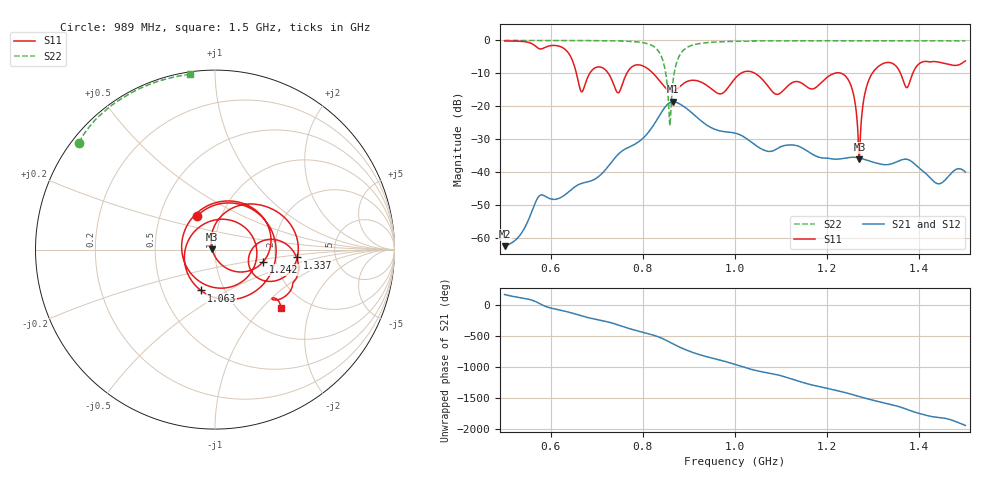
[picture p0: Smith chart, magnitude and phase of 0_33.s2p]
! TOUCHSTONE file generated by CST MICROWAVE STUDIO
! Date and time: Sat Oct 24 10:47:19 2020
! Project name: Scenario_1_Planar_Body_Tissue_Center.cst
! Parameters = {hfat=3; hmuscle=50; hskin=1.5; hgap=25; Wtissue=700; Ltissue=700; L_HA=400; MT=2.54; Rad_Dielectric=30; Rad_Lower=7.3; Rad_Upper=30; a_HA=580; a_WG=246; b_HA=500; b_WG=121; c_HA=0; c_WG=187; d_feed=85; dx1=727.24; h_feed=15; h_lower=18; h_upper=40}
! Header version: 2018
! Port assignment regex: !\s*Touchstone port\s*([0-9]+)\s*=\s*(CST MWS port|CST DS port)\s*([0-9]+|Zmin|Zmax)\s*\(\"(.*)\"\)(\s*mode\s*([0-9]+))?.*
! Touchstone port assignment:
! Touchstone port 1 = CST MWS port 1 ("")
! Touchstone port 2 = CST MWS port 2 ("")
# GHz S DB R 50
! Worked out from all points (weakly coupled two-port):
!   1003 points, 500 MHz to 1.5 GHz, reference 50 ohm
!   highest |S21| = -18.59 dB at 866 MHz (marker M1); lowest = -62.4 dB at 500 MHz (marker M2)
!   lowest |S11| = -36.0 dB at 1.27 GHz (marker M3), VSWR 1.03, Z = 48.4 + j0.0987 ohm
!   |S11| at or under -10 dB: 822.5 MHz to 1.012 GHz (189.8 MHz wide, 20.7 % of centre); 1.044 GHz to 1.215 GHz (171.5 MHz wide, 15.2 % of centre); 1.231 GHz to 1.298 GHz (66.46 MHz wide, 5.26 % of centre) (the widest 3 of 6)
!   |S22| runs from -25.9 to 0.0 dB; largest |S21 - S12| = 1.1e-05
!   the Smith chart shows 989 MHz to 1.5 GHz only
!   S11 on the Smith chart (normalised r, x): 989 MHz: 0.77, +0.30; 1.063 GHz: 0.78, -0.37; 1.242 GHz: 1.71, -0.25; 1.337 GHz: 2.67, -0.30; 1.5 GHz: 1.50, -1.28
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0.5  -0.16 -121.4  -62.36 169.2  -62.36 169.2  -0.01 151.1
0.612  -1.56 177.9  -48.12 -68.5  -48.12 -68.5  -0.02 143.2
0.667  -15.59 148.2  -43.33 -175.0  -43.33 -175.0  -0.04 138.4
0.742  -15.19 11.0  -35.20 49.5  -35.20 49.5  -0.14 129.0
0.781  -7.62 165.1  -31.59 -41.9  -31.59 -41.9  -0.36 120.1
0.834  -11.84 16.5  -23.27 -154.3  -23.27 -154.3  -3.27 84.8
0.858  -15.32 -80.8  -18.89 122.5  -18.89 122.5  -24.94 -16.8
0.866  -15.37 -121.4  -18.59 91.2  -18.59 91.2  -11.80 -140.5
0.898  -12.33 99.3  -20.97 -16.0  -20.97 -16.0  -1.96 170.2
0.951  -14.94 -74.9  -26.63 -137.3  -26.63 -137.3  -0.53 148.8
0.989  -13.50 118.3  -27.84 147.6  -27.84 147.6  -0.31 141.8
1  -11.52 77.7  -28.09 122.4  -28.09 122.4  -0.28 140.3
1.063  -12.37 -109.0  -33.25 -3.8  -33.25 -3.8  -0.15 133.2
1.128  -12.58 -6.9  -31.73 -124.8  -31.73 -124.8  -0.11 127.4
1.167  -14.71 -165.3  -34.41 150.9  -34.41 150.9  -0.10 124.2
1.242  -11.15 -14.1  -35.60 22.0  -35.60 22.0  -0.08 118.5
1.27  -35.98 176.3  -35.62 -37.4  -35.62 -37.4  -0.08 116.4
1.291  -11.81 66.1  -36.54 -80.2  -36.54 -80.2  -0.08 114.8
1.334  -6.67 -1.2  -37.59 -156.1  -37.59 -156.1  -0.09 111.5
1.337  -6.74 -5.5  -37.50 -161.2  -37.50 -161.2  -0.09 111.3
1.373  -14.30 -10.8  -36.02 117.3  -36.02 117.3  -0.09 108.5
1.5  -6.21 -41.6  -39.88 -142.5  -39.88 -142.5  -0.13 98.0
